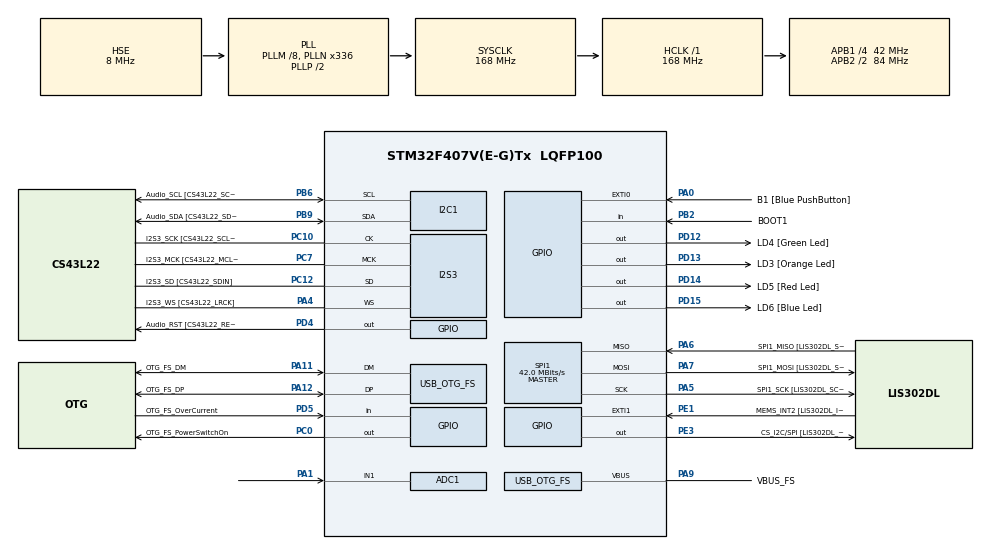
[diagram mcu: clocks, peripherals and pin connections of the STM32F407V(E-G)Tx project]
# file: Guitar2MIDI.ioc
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ADC1.Channel-0\#ChannelRegularConversion=ADC_CHANNEL_1
ADC1.ClockPrescaler=ADC_CLOCK_SYNC_PCLK_DIV8
ADC1.ContinuousConvMode=ENABLE
ADC1.DMAContinuousRequests=ENABLE
ADC1.EOCSelection=ADC_EOC_SEQ_CONV
ADC1.NbrOfConversionFlag=1
ADC1.Rank-0\#ChannelRegularConversion=1
ADC1.Resolution=ADC_RESOLUTION_12B
ADC1.SamplingTime-0\#ChannelRegularConversion=ADC_SAMPLETIME_480CYCLES
ADC1.master=1
Dma.ADC1.0.Direction=DMA_PERIPH_TO_MEMORY
Dma.ADC1.0.FIFOMode=DMA_FIFOMODE_DISABLE
Dma.ADC1.0.Instance=DMA2_Stream0
Dma.ADC1.0.MemDataAlignment=DMA_MDATAALIGN_HALFWORD
Dma.ADC1.0.MemInc=DMA_MINC_ENABLE
Dma.ADC1.0.Mode=DMA_CIRCULAR
Dma.ADC1.0.PeriphDataAlignment=DMA_PDATAALIGN_HALFWORD
Dma.ADC1.0.PeriphInc=DMA_PINC_DISABLE
Dma.ADC1.0.Priority=DMA_PRIORITY_HIGH
Dma.Request0=ADC1
I2S3.AudioFreq-Half_Duplex_Master=I2S_AUDIOFREQ_96K
I2S3.ErrorAudioFreq=-2.34 %
I2S3.ErrorAudioFreq-Half_Duplex_Master=0.8 %
I2S3.FullDuplexMode=I2S_FULLDUPLEXMODE_DISABLE
I2S3.Instance=SPI$Index
I2S3.RealAudioFreq=93.75 KHz
I2S3.RealAudioFreq-Half_Duplex_Master=96.774 KHz
I2S3.VirtualMode=I2S_MODE_MASTER
Mcu.Family=STM32F4
Mcu.Name=STM32F407V(E-G)Tx
Mcu.Package=LQFP100
NVIC.DMA2_Stream0_IRQn=true\:0\:0\:false\:false\:true\:false\:true\:true
NVIC.I2C1_ER_IRQn=true\:0\:0\:false\:false\:true\:true\:true\:true
NVIC.I2C1_EV_IRQn=true\:0\:0\:false\:false\:true\:true\:true\:true
NVIC.OTG_FS_IRQn=true\:0\:0\:false\:false\:true\:true\:true\:true
NVIC.PriorityGroup=NVIC_PRIORITYGROUP_0
PA0-WKUP.GPIO_Label=B1 [Blue PushButton]
PA0-WKUP.GPIO_ModeDefaultEXTI=GPIO_MODE_EVT_RISING
PA0-WKUP.GPIO_PuPd=GPIO_NOPULL
PA0-WKUP.Signal=GPXTI0
PA1.Signal=ADCx_IN1
PA10.GPIO_Label=OTG_FS_ID
PA10.GPIO_Mode=GPIO_MODE_AF_PP
PA10.GPIO_PuPd=GPIO_NOPULL
PA10.GPIO_Speed=GPIO_SPEED_FREQ_LOW
PA10.Signal=USB_OTG_FS_ID
PA11.GPIO_Label=OTG_FS_DM
PA11.GPIO_Mode=GPIO_MODE_AF_PP
PA11.GPIO_PuPd=GPIO_NOPULL
PA11.GPIO_Speed=GPIO_SPEED_FREQ_LOW
PA11.Mode=Device_Only
PA11.Signal=USB_OTG_FS_DM
PA12.GPIO_Label=OTG_FS_DP
PA12.GPIO_Mode=GPIO_MODE_AF_PP
PA12.GPIO_PuPd=GPIO_NOPULL
PA12.GPIO_Speed=GPIO_SPEED_FREQ_LOW
PA12.Mode=Device_Only
PA12.Signal=USB_OTG_FS_DP
PA13.GPIO_Label=SWDIO
PA13.Mode=Serial_Wire
PA13.Signal=SYS_JTMS-SWDIO
PA14.GPIO_Label=SWCLK
PA14.Mode=Serial_Wire
PA14.Signal=SYS_JTCK-SWCLK
PA4.GPIO_Label=I2S3_WS [CS43L22_LRCK]
PA4.GPIO_Mode=GPIO_MODE_AF_PP
PA4.GPIO_PuPd=GPIO_NOPULL
PA4.GPIO_Speed=GPIO_SPEED_FREQ_LOW
PA4.Mode=Half_Duplex_Master
PA4.Signal=I2S3_WS
PA5.GPIO_Label=SPI1_SCK [LIS302DL_SCL/SPC]
PA5.GPIO_Mode=GPIO_MODE_AF_PP
PA5.GPIO_PuPd=GPIO_NOPULL
PA5.GPIO_Speed=GPIO_SPEED_FREQ_LOW
PA5.Mode=Full_Duplex_Master
PA5.Signal=SPI1_SCK
PA6.GPIO_Label=SPI1_MISO [LIS302DL_SDO]
PA6.GPIO_Mode=GPIO_MODE_AF_PP
PA6.GPIO_PuPd=GPIO_NOPULL
PA6.GPIO_Speed=GPIO_SPEED_FREQ_LOW
PA6.Mode=Full_Duplex_Master
PA6.Signal=SPI1_MISO
PA7.GPIO_Label=SPI1_MOSI [LIS302DL_SDA/SDI/SDO]
PA7.GPIO_Mode=GPIO_MODE_AF_PP
PA7.GPIO_PuPd=GPIO_NOPULL
PA7.GPIO_Speed=GPIO_SPEED_FREQ_LOW
PA7.Mode=Full_Duplex_Master
PA7.Signal=SPI1_MOSI
PA9.GPIO_Label=VBUS_FS
PA9.GPIO_Mode=GPIO_MODE_INPUT
PA9.GPIO_PuPd=GPIO_NOPULL
PA9.Mode=Activate_VBUS
PA9.Signal=USB_OTG_FS_VBUS
PB10.GPIO_Label=CLK_IN [MP45DT02_CLK]
PB10.GPIO_Mode=GPIO_MODE_AF_PP
PB10.GPIO_PuPd=GPIO_NOPULL
PB10.GPIO_Speed=GPIO_SPEED_FREQ_LOW
PB10.Signal=I2S2_CK
PB2.GPIO_Label=BOOT1
PB2.GPIO_Mode=GPIO_MODE_INPUT
PB2.GPIO_PuPd=GPIO_NOPULL
PB2.Signal=GPIO_Input
PB3.GPIO_Label=SWO
PB3.Signal=SYS_JTDO-SWO
PB6.GPIO_Label=Audio_SCL [CS43L22_SCL]
PB6.GPIO_Mode=GPIO_MODE_AF_OD
PB6.GPIO_Pu=GPIO_PULLUP
PB6.GPIO_PuPd=GPIO_NOPULL
PB6.GPIO_Speed=GPIO_SPEED_FREQ_LOW
PB6.Mode=I2C
PB6.Signal=I2C1_SCL
PB9.GPIO_Label=Audio_SDA [CS43L22_SDA]
PB9.GPIO_Mode=GPIO_MODE_AF_OD
PB9.GPIO_Pu=GPIO_PULLUP
PB9.GPIO_PuPd=GPIO_NOPULL
PB9.GPIO_Speed=GPIO_SPEED_FREQ_LOW
PB9.Mode=I2C
PB9.Signal=I2C1_SDA
PC0.GPIO_Label=OTG_FS_PowerSwitchOn
PC0.GPIO_PuPd=GPIO_NOPULL
PC0.GPIO_Speed=GPIO_SPEED_FREQ_LOW
PC0.PinState=GPIO_PIN_SET
PC0.Signal=GPIO_Output
PC10.GPIO_Label=I2S3_SCK [CS43L22_SCLK]
PC10.GPIO_Mode=GPIO_MODE_AF_PP
PC10.GPIO_PuPd=GPIO_NOPULL
PC10.GPIO_Speed=GPIO_SPEED_FREQ_LOW
PC10.Mode=Half_Duplex_Master
PC10.Signal=I2S3_CK
PC12.GPIO_Label=I2S3_SD [CS43L22_SDIN]
PC12.GPIO_Mode=GPIO_MODE_AF_PP
PC12.GPIO_PuPd=GPIO_NOPULL
PC12.GPIO_Speed=GPIO_SPEED_FREQ_LOW
PC12.Mode=Half_Duplex_Master
PC12.Signal=I2S3_SD
PC14-OSC32_IN.GPIO_Label=PC14-OSC32_IN
PC14-OSC32_IN.Mode=LSE-External-Oscillator
PC14-OSC32_IN.Signal=RCC_OSC32_IN
PC15-OSC32_OUT.GPIO_Label=PC15-OSC32_OUT
PC15-OSC32_OUT.Mode=LSE-External-Oscillator
PC15-OSC32_OUT.Signal=RCC_OSC32_OUT
PC3.GPIO_Label=PDM_OUT [MP45DT02_DOUT]
PC3.GPIO_Mode=GPIO_MODE_AF_PP
PC3.GPIO_PuPd=GPIO_NOPULL
PC3.GPIO_Speed=GPIO_SPEED_FREQ_LOW
PC3.Signal=I2S2_SD
PC7.GPIO_Label=I2S3_MCK [CS43L22_MCLK]
PC7.GPIO_Mode=GPIO_MODE_AF_PP
PC7.GPIO_PuPd=GPIO_NOPULL
PC7.GPIO_Speed=GPIO_SPEED_FREQ_LOW
PC7.Mode=Master_Clock_Activated
PC7.Signal=I2S3_MCK
PD12.GPIO_Label=LD4 [Green Led]
PD12.GPIO_PuPd=GPIO_NOPULL
PD12.GPIO_Speed=GPIO_SPEED_FREQ_LOW
PD12.Signal=GPIO_Output
PD13.GPIO_Label=LD3 [Orange Led]
PD13.GPIO_PuPd=GPIO_NOPULL
PD13.GPIO_Speed=GPIO_SPEED_FREQ_LOW
PD13.Signal=GPIO_Output
PD14.GPIO_Label=LD5 [Red Led]
PD14.GPIO_PuPd=GPIO_NOPULL
PD14.GPIO_Speed=GPIO_SPEED_FREQ_LOW
PD14.Signal=GPIO_Output
PD15.GPIO_Label=LD6 [Blue Led]
PD15.GPIO_PuPd=GPIO_NOPULL
PD15.GPIO_Speed=GPIO_SPEED_FREQ_LOW
PD15.Signal=GPIO_Output
PD4.GPIO_Label=Audio_RST [CS43L22_RESET]
PD4.GPIO_PuPd=GPIO_NOPULL
PD4.GPIO_Speed=GPIO_SPEED_FREQ_LOW
PD4.Signal=GPIO_Output
PD5.GPIO_Label=OTG_FS_OverCurrent
PD5.GPIO_Mode=GPIO_MODE_INPUT
PD5.GPIO_PuPd=GPIO_NOPULL
PD5.Signal=GPIO_Input
PE1.GPIO_Label=MEMS_INT2 [LIS302DL_INT2]
PE1.GPIO_ModeDefaultEXTI=GPIO_MODE_EVT_RISING
PE1.GPIO_PuPd=GPIO_NOPULL
PE1.Signal=GPXTI1
PE3.GPIO_Label=CS_I2C/SPI [LIS302DL_CS_I2C/SPI]
PE3.GPIO_PuPd=GPIO_NOPULL
PE3.GPIO_Speed=GPIO_SPEED_FREQ_LOW
PE3.Signal=GPIO_Output
PH0-OSC_IN.GPIO_Label=PH0-OSC_IN
PH0-OSC_IN.Mode=HSE-External-Oscillator
PH0-OSC_IN.Signal=RCC_OSC_IN
PH1-OSC_OUT.GPIO_Label=PH1-OSC_OUT
PH1-OSC_OUT.Mode=HSE-External-Oscillator
PH1-OSC_OUT.Signal=RCC_OSC_OUT
ProjectManager.HeapSize=0x200
ProjectManager.StackSize=0x400
ProjectManager.TargetToolchain=STM32CubeIDE
RCC.48MHZClocksFreq_Value=48000000
RCC.AHBFreq_Value=168000000
RCC.APB1CLKDivider=RCC_HCLK_DIV4
RCC.APB1Freq_Value=42000000
RCC.APB1TimFreq_Value=84000000
RCC.APB2CLKDivider=RCC_HCLK_DIV2
RCC.APB2Freq_Value=84000000
RCC.APB2TimFreq_Value=168000000
RCC.CortexFreq_Value=168000000
RCC.HCLKFreq_Value=168000000
RCC.HSE_VALUE=8000000
RCC.HSI_VALUE=16000000
RCC.PLLM=8
RCC.PLLN=336
RCC.PLLQ=7
RCC.SYSCLKFreq_VALUE=168000000
RCC.SYSCLKSource=RCC_SYSCLKSOURCE_PLLCLK
RCC.VCOOutputFreq_Value=336000000
SH.ADCx_IN1.0=ADC1_IN1,IN1
SPI1.BaudRatePrescaler=SPI_BAUDRATEPRESCALER_2
SPI1.BaudRatePrescaler-Full_Duplex_Master=SPI_BAUDRATEPRESCALER_2
SPI1.CalculateBaudRate=42.0 MBits/s
SPI1.CalculateBaudRate-Full_Duplex_Master=42.0 MBits/s
SPI1.Direction=SPI_DIRECTION_2LINES
SPI1.Mode=SPI_MODE_MASTER
SPI1.Mode-Full_Duplex_Master=SPI_MODE_MASTER
SPI1.VirtualType=VM_MASTER
USB_DEVICE.CLASS_NAME_FS=AUDIO
USB_DEVICE.VirtualMode-AUDIO_FS=Audio
USB_DEVICE.VirtualModeFS=Audio_FS
USB_OTG_FS.VirtualMode=Device_Only
VP_USB_DEVICE_VS_USB_DEVICE_AUDIO_FS.Mode=AUDIO_FS
board=STM32F407G-DISC1

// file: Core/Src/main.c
/* USER CODE BEGIN Header */
/**
 ******************************************************************************
 * @file           : main.c
 * @brief          : Main program body
 ******************************************************************************
 * @attention
 *
 * Copyright (c) 2024 STMicroelectronics.
 * All rights reserved.
 *
 * This software is licensed under terms that can be found in the LICENSE file
 * in the root directory of this software component.
 * If no LICENSE file comes with this software, it is provided AS-IS.
 *
 ******************************************************************************
 */
/* USER CODE END Header */
#include "main.h"
#include "usb_device.h"

/* USER CODE BEGIN Includes */
#include "arm_math.h"
#include "midi.h"
#include "fft.h"
#include "oled.h"
#include "logic.h"
#include "autocorr.h"
/* USER CODE END Includes */

ADC_HandleTypeDef hadc1;
DMA_HandleTypeDef hdma_adc1;

I2C_HandleTypeDef hi2c1;

I2S_HandleTypeDef hi2s3;

SPI_HandleTypeDef hspi1;

/* USER CODE BEGIN PV */
volatile uint8_t adcReady = 0;
uint16_t adcBuffer[ADC_BUFFER_SIZE];
float32_t inputSignal[FFT_SIZE];
float32_t fftOutputComplex[FFT_SIZE];
float32_t fftMagnitudes[FFT_SIZE / 2];
/* USER CODE END PV */

void SystemClock_Config(void);
static void MX_GPIO_Init(void);
static void MX_DMA_Init(void);
static void MX_I2C1_Init(void);
static void MX_I2S3_Init(void);
static void MX_SPI1_Init(void);
static void MX_ADC1_Init(void);

/* USER CODE BEGIN 0 */
void HAL_ADC_ConvCpltCallback(ADC_HandleTypeDef *hadc) {
	if (hadc->Instance == ADC1) {
		adcReady = 1;
	}
}
/* USER CODE END 0 */

int main(void) {

	/* MCU Configuration--------------------------------------------------------*/

	/* Reset of all peripherals, Initializes the Flash interface and the Systick. */
	HAL_Init();

	/* Configure the system clock */
	SystemClock_Config();

	/* Initialize all configured peripherals */
	MX_GPIO_Init();
	MX_DMA_Init();
	MX_I2C1_Init();
	MX_I2S3_Init();
	MX_SPI1_Init();
	MX_ADC1_Init();
	MX_USB_DEVICE_Init();
	/* USER CODE BEGIN 2 */
	HAL_Delay(500);
	OLED_Init(&hi2c1);
	OLED_FillScreen(0x00);
	HAL_ADC_Start_DMA(&hadc1, (uint32_t*) adcBuffer, ADC_BUFFER_SIZE);
	FFT_Init();
	/* USER CODE END 2 */

	/* Infinite loop */
	/* USER CODE BEGIN WHILE */

	while (1) {
		if (adcReady) {
			adcReady = 0;

			FreqResult r = Autocorrelation_FindFundamentalFrequency(adcBuffer);

			Logic_HandleFrequency(r.frequency, r.energy);
		}
		/* USER CODE END WHILE */

	}
}

void SystemClock_Config(void) {
	RCC_OscInitTypeDef RCC_OscInitStruct = { 0 };
	RCC_ClkInitTypeDef RCC_ClkInitStruct = { 0 };

	/** Configure the main internal regulator output voltage
	 */
	__HAL_RCC_PWR_CLK_ENABLE();
	__HAL_PWR_VOLTAGESCALING_CONFIG(PWR_REGULATOR_VOLTAGE_SCALE1);

	/** Initializes the RCC Oscillators according to the specified parameters
	 * in the RCC_OscInitTypeDef structure.
	 */
	RCC_OscInitStruct.OscillatorType = RCC_OSCILLATORTYPE_HSE;
	RCC_OscInitStruct.HSEState = RCC_HSE_ON;
	RCC_OscInitStruct.PLL.PLLState = RCC_PLL_ON;
	RCC_OscInitStruct.PLL.PLLSource = RCC_PLLSOURCE_HSE;
	RCC_OscInitStruct.PLL.PLLM = 8;
	RCC_OscInitStruct.PLL.PLLN = 336;
	RCC_OscInitStruct.PLL.PLLP = RCC_PLLP_DIV2;
	RCC_OscInitStruct.PLL.PLLQ = 7;
	if (HAL_RCC_OscConfig(&RCC_OscInitStruct) != HAL_OK) {
		Error_Handler();
	}

	/** Initializes the CPU, AHB and APB buses clocks
	 */
	RCC_ClkInitStruct.ClockType = RCC_CLOCKTYPE_HCLK | RCC_CLOCKTYPE_SYSCLK
			| RCC_CLOCKTYPE_PCLK1 | RCC_CLOCKTYPE_PCLK2;
	RCC_ClkInitStruct.SYSCLKSource = RCC_SYSCLKSOURCE_PLLCLK;
	RCC_ClkInitStruct.AHBCLKDivider = RCC_SYSCLK_DIV1;
	RCC_ClkInitStruct.APB1CLKDivider = RCC_HCLK_DIV4;
	RCC_ClkInitStruct.APB2CLKDivider = RCC_HCLK_DIV2;

	if (HAL_RCC_ClockConfig(&RCC_ClkInitStruct, FLASH_LATENCY_5) != HAL_OK) {
		Error_Handler();
	}
}

static void MX_ADC1_Init(void) {

	ADC_ChannelConfTypeDef sConfig = { 0 };

	/** Configure the global features of the ADC (Clock, Resolution, Data Alignment and number of conversion)
	 */
	hadc1.Instance = ADC1;
	hadc1.Init.ClockPrescaler = ADC_CLOCK_SYNC_PCLK_DIV8;
	hadc1.Init.Resolution = ADC_RESOLUTION_12B;
	hadc1.Init.ScanConvMode = DISABLE;
	hadc1.Init.ContinuousConvMode = ENABLE;
	hadc1.Init.DiscontinuousConvMode = DISABLE;
	hadc1.Init.ExternalTrigConvEdge = ADC_EXTERNALTRIGCONVEDGE_NONE;
	hadc1.Init.ExternalTrigConv = ADC_SOFTWARE_START;
	hadc1.Init.DataAlign = ADC_DATAALIGN_RIGHT;
	hadc1.Init.NbrOfConversion = 1;
	hadc1.Init.DMAContinuousRequests = ENABLE;
	hadc1.Init.EOCSelection = ADC_EOC_SEQ_CONV;
	if (HAL_ADC_Init(&hadc1) != HAL_OK) {
		Error_Handler();
	}

	/** Configure for the selected ADC regular channel its corresponding rank in the sequencer and its sample time.
	 */
	sConfig.Channel = ADC_CHANNEL_1;
	sConfig.Rank = 1;
	sConfig.SamplingTime = ADC_SAMPLETIME_480CYCLES;
	if (HAL_ADC_ConfigChannel(&hadc1, &sConfig) != HAL_OK) {
		Error_Handler();
	}

}

static void MX_I2C1_Init(void) {

	hi2c1.Instance = I2C1;
	hi2c1.Init.ClockSpeed = 100000;
	hi2c1.Init.DutyCycle = I2C_DUTYCYCLE_2;
	hi2c1.Init.OwnAddress1 = 0;
	hi2c1.Init.AddressingMode = I2C_ADDRESSINGMODE_7BIT;
	hi2c1.Init.DualAddressMode = I2C_DUALADDRESS_DISABLE;
	hi2c1.Init.OwnAddress2 = 0;
	hi2c1.Init.GeneralCallMode = I2C_GENERALCALL_DISABLE;
	hi2c1.Init.NoStretchMode = I2C_NOSTRETCH_DISABLE;
	if (HAL_I2C_Init(&hi2c1) != HAL_OK) {
		Error_Handler();
	}
	/* USER CODE BEGIN I2C1_Init 2 */
	HAL_NVIC_SetPriority(I2C1_EV_IRQn, 2, 0);
	HAL_NVIC_EnableIRQ(I2C1_EV_IRQn);

	HAL_NVIC_SetPriority(I2C1_ER_IRQn, 2, 0);
	HAL_NVIC_EnableIRQ(I2C1_ER_IRQn);
	/* USER CODE END I2C1_Init 2 */

}

static void MX_I2S3_Init(void) {

	hi2s3.Instance = SPI3;
	hi2s3.Init.Mode = I2S_MODE_MASTER_TX;
	hi2s3.Init.Standard = I2S_STANDARD_PHILIPS;
	hi2s3.Init.DataFormat = I2S_DATAFORMAT_16B;
	hi2s3.Init.MCLKOutput = I2S_MCLKOUTPUT_ENABLE;
	hi2s3.Init.AudioFreq = I2S_AUDIOFREQ_96K;
	hi2s3.Init.CPOL = I2S_CPOL_LOW;
	hi2s3.Init.ClockSource = I2S_CLOCK_PLL;
	hi2s3.Init.FullDuplexMode = I2S_FULLDUPLEXMODE_DISABLE;
	if (HAL_I2S_Init(&hi2s3) != HAL_OK) {
		Error_Handler();
	}

}

static void MX_SPI1_Init(void) {

	/* SPI1 parameter configuration*/
	hspi1.Instance = SPI1;
	hspi1.Init.Mode = SPI_MODE_MASTER;
	hspi1.Init.Direction = SPI_DIRECTION_2LINES;
	hspi1.Init.DataSize = SPI_DATASIZE_8BIT;
	hspi1.Init.CLKPolarity = SPI_POLARITY_LOW;
	hspi1.Init.CLKPhase = SPI_PHASE_1EDGE;
	hspi1.Init.NSS = SPI_NSS_SOFT;
	hspi1.Init.BaudRatePrescaler = SPI_BAUDRATEPRESCALER_2;
	hspi1.Init.FirstBit = SPI_FIRSTBIT_MSB;
	hspi1.Init.TIMode = SPI_TIMODE_DISABLE;
	hspi1.Init.CRCCalculation = SPI_CRCCALCULATION_DISABLE;
	hspi1.Init.CRCPolynomial = 10;
	if (HAL_SPI_Init(&hspi1) != HAL_OK) {
		Error_Handler();
	}

}

static void MX_DMA_Init(void) {

	/* DMA controller clock enable */
	__HAL_RCC_DMA2_CLK_ENABLE();

	/* DMA interrupt init */
	/* DMA2_Stream0_IRQn interrupt configuration */
	HAL_NVIC_SetPriority(DMA2_Stream0_IRQn, 0, 0);
	HAL_NVIC_EnableIRQ(DMA2_Stream0_IRQn);

}

static void MX_GPIO_Init(void) {
	GPIO_InitTypeDef GPIO_InitStruct = { 0 };

	/* GPIO Ports Clock Enable */
	__HAL_RCC_GPIOE_CLK_ENABLE();
	__HAL_RCC_GPIOC_CLK_ENABLE();
	__HAL_RCC_GPIOH_CLK_ENABLE();
	__HAL_RCC_GPIOA_CLK_ENABLE();
	__HAL_RCC_GPIOB_CLK_ENABLE();
	__HAL_RCC_GPIOD_CLK_ENABLE();

	/*Configure GPIO pin Output Level */
	HAL_GPIO_WritePin(CS_I2C_SPI_GPIO_Port, CS_I2C_SPI_Pin, GPIO_PIN_RESET);

	/*Configure GPIO pin Output Level */
	HAL_GPIO_WritePin(OTG_FS_PowerSwitchOn_GPIO_Port, OTG_FS_PowerSwitchOn_Pin,
			GPIO_PIN_SET);

	/*Configure GPIO pin Output Level */
	HAL_GPIO_WritePin(GPIOD,
	LD4_Pin | LD3_Pin | LD5_Pin | LD6_Pin | Audio_RST_Pin, GPIO_PIN_RESET);

	/*Configure GPIO pin : CS_I2C_SPI_Pin */
	GPIO_InitStruct.Pin = CS_I2C_SPI_Pin;
	GPIO_InitStruct.Mode = GPIO_MODE_OUTPUT_PP;
	GPIO_InitStruct.Pull = GPIO_NOPULL;
	GPIO_InitStruct.Speed = GPIO_SPEED_FREQ_LOW;
	HAL_GPIO_Init(CS_I2C_SPI_GPIO_Port, &GPIO_InitStruct);

	/*Configure GPIO pin : OTG_FS_PowerSwitchOn_Pin */
	GPIO_InitStruct.Pin = OTG_FS_PowerSwitchOn_Pin;
	GPIO_InitStruct.Mode = GPIO_MODE_OUTPUT_PP;
	GPIO_InitStruct.Pull = GPIO_NOPULL;
	GPIO_InitStruct.Speed = GPIO_SPEED_FREQ_LOW;
	HAL_GPIO_Init(OTG_FS_PowerSwitchOn_GPIO_Port, &GPIO_InitStruct);

	/*Configure GPIO pin : PDM_OUT_Pin */
	GPIO_InitStruct.Pin = PDM_OUT_Pin;
	GPIO_InitStruct.Mode = GPIO_MODE_AF_PP;
	GPIO_InitStruct.Pull = GPIO_NOPULL;
	GPIO_InitStruct.Speed = GPIO_SPEED_FREQ_LOW;
	GPIO_InitStruct.Alternate = GPIO_AF5_SPI2;
	HAL_GPIO_Init(PDM_OUT_GPIO_Port, &GPIO_InitStruct);

	/*Configure GPIO pin : B1_Pin */
	GPIO_InitStruct.Pin = B1_Pin;
	GPIO_InitStruct.Mode = GPIO_MODE_EVT_RISING;
	GPIO_InitStruct.Pull = GPIO_NOPULL;
	HAL_GPIO_Init(B1_GPIO_Port, &GPIO_InitStruct);

	/*Configure GPIO pin : BOOT1_Pin */
	GPIO_InitStruct.Pin = BOOT1_Pin;
	GPIO_InitStruct.Mode = GPIO_MODE_INPUT;
	GPIO_InitStruct.Pull = GPIO_NOPULL;
	HAL_GPIO_Init(BOOT1_GPIO_Port, &GPIO_InitStruct);

	/*Configure GPIO pin : CLK_IN_Pin */
	GPIO_InitStruct.Pin = CLK_IN_Pin;
	GPIO_InitStruct.Mode = GPIO_MODE_AF_PP;
	GPIO_InitStruct.Pull = GPIO_NOPULL;
	GPIO_InitStruct.Speed = GPIO_SPEED_FREQ_LOW;
	GPIO_InitStruct.Alternate = GPIO_AF5_SPI2;
	HAL_GPIO_Init(CLK_IN_GPIO_Port, &GPIO_InitStruct);

	/*Configure GPIO pins : LD4_Pin LD3_Pin LD5_Pin LD6_Pin
	 Audio_RST_Pin */
	GPIO_InitStruct.Pin = LD4_Pin | LD3_Pin | LD5_Pin | LD6_Pin | Audio_RST_Pin;
	GPIO_InitStruct.Mode = GPIO_MODE_OUTPUT_PP;
	GPIO_InitStruct.Pull = GPIO_NOPULL;
	GPIO_InitStruct.Speed = GPIO_SPEED_FREQ_LOW;
	HAL_GPIO_Init(GPIOD, &GPIO_InitStruct);

	/*Configure GPIO pin : OTG_FS_OverCurrent_Pin */
	GPIO_InitStruct.Pin = OTG_FS_OverCurrent_Pin;
	GPIO_InitStruct.Mode = GPIO_MODE_INPUT;
	GPIO_InitStruct.Pull = GPIO_NOPULL;
	HAL_GPIO_Init(OTG_FS_OverCurrent_GPIO_Port, &GPIO_InitStruct);

	/*Configure GPIO pin : MEMS_INT2_Pin */
	GPIO_InitStruct.Pin = MEMS_INT2_Pin;
	GPIO_InitStruct.Mode = GPIO_MODE_EVT_RISING;
	GPIO_InitStruct.Pull = GPIO_NOPULL;
	HAL_GPIO_Init(MEMS_INT2_GPIO_Port, &GPIO_InitStruct);

}

void Error_Handler(void) {
	__disable_irq();
	while (1) {
	}
}
